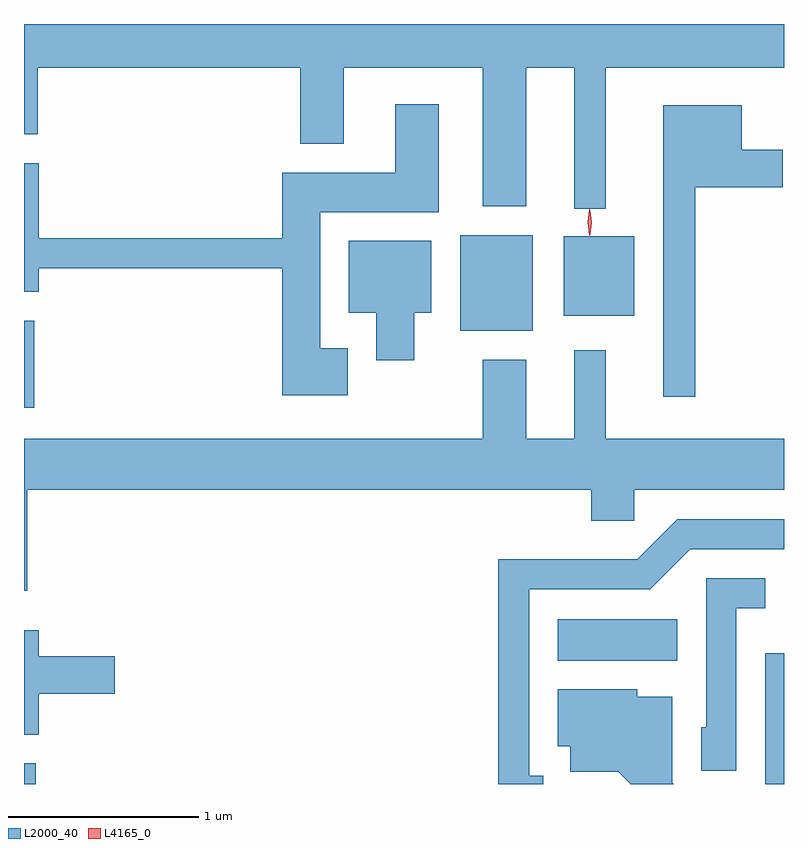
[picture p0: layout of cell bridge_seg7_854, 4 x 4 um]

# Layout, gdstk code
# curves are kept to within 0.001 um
import gdstk
lib = gdstk.Library(unit=1e-6, precision=1e-09)
def R(c, l, rs):  # rectangles x0, y0, x1, y1
    for r in rs: c.add(gdstk.rectangle(r[:2], r[2:], *l))
def P(c, l, *ps):  # polygons
    for p in ps: c.add(gdstk.Polygon(p, *l))
L2000_40 = (2000, 40)
L4165_0 = (4165, 0)

bridge_seg7_854 = lib.new_cell('bridge_seg7_854')
R(bridge_seg7_854, L2000_40, [(280.166,1732.746,280.228,1732.854), (284.066,1732.746,284.166,1733.433), (282.976,1733.396,283.604,1733.614), (280.166,1734.726,280.219,1735.184), (282.461,1735.131,282.844,1735.634), (283.006,1735.211,283.379,1735.629)])
P(bridge_seg7_854, L2000_40, [(280.166,1736.166),(280.239,1736.166),(280.239,1736.516),(281.621,1736.516),(281.621,1736.116),(281.849,1736.116),(281.849,1736.516),(282.581,1736.516),(282.581,1735.786),(282.809,1735.786),(282.809,1736.516),(283.061,1736.516),(283.061,1735.773),(283.229,1735.773),(283.229,1736.516),(284.166,1736.516),(284.166,1736.746),(280.166,1736.746)],
  [(281.869,1735.039),(281.724,1735.039),(281.724,1735.756),(282.349,1735.756),(282.349,1736.324),(282.121,1736.324),(282.121,1735.964),(281.526,1735.964),(281.526,1735.619),(280.244,1735.619),(280.244,1736.014),(280.166,1736.014),(280.166,1735.336),(280.244,1735.336),(280.244,1735.461),(281.526,1735.461),(281.526,1734.791),(281.869,1734.791)],
  [(283.699,1735.886),(284.159,1735.886),(284.159,1736.084),(283.944,1736.084),(283.944,1736.319),(283.531,1736.319),(283.531,1734.783),(283.699,1734.783)],
  [(282.219,1735.226),(282.309,1735.226),(282.309,1735.604),(281.876,1735.604),(281.876,1735.226),(282.021,1735.226),(282.021,1734.976),(282.219,1734.976)],
  [(280.184,1734.296),(283.151,1734.296),(283.151,1734.131),(283.379,1734.131),(283.379,1734.296),(284.166,1734.296),(284.166,1734.564),(283.229,1734.564),(283.229,1735.028),(283.061,1735.028),(283.061,1734.564),(282.809,1734.564),(282.809,1734.979),(282.581,1734.979),(282.581,1734.564),(280.166,1734.564),(280.166,1733.763),(280.184,1733.763)],
  [(282.898,1732.789),(282.824,1732.789),(282.824,1733.771),(283.462,1733.771),(283.672,1733.981),(284.166,1733.981),(284.166,1734.139),(283.604,1734.139),(283.394,1733.929),(282.661,1733.929),(282.661,1732.746),(282.898,1732.746)],
  [(283.914,1733.671),(284.068,1733.671),(284.068,1733.829),(283.756,1733.829),(283.756,1733.044),(283.731,1733.044),(283.731,1732.816),(283.914,1732.816)],
  [(280.244,1733.221),(280.644,1733.221),(280.644,1733.419),(280.244,1733.419),(280.244,1733.554),(280.166,1733.554),(280.166,1733.006),(280.244,1733.006)],
  [(283.579,1732.752),(283.579,1733.204),(283.394,1733.204),(283.394,1733.244),(282.976,1733.244),(282.976,1732.946),(283.041,1732.946),(283.041,1732.811),(283.294,1732.811),(283.359,1732.746),(283.585,1732.746)])
P(bridge_seg7_854, L4165_0, [(283.145,1735.638),(283.145,1735.638),(283.135,1735.702),(283.144,1735.766),(283.144,1735.767),(283.145,1735.766),(283.155,1735.702),(283.146,1735.638)],
  [(283.142,1735.634),(283.142,1735.634),(283.132,1735.702),(283.142,1735.77),(283.142,1735.77),(283.143,1735.77),(283.152,1735.702),(283.143,1735.634)])

lib.write_gds('bridge_seg7_854.gds')
